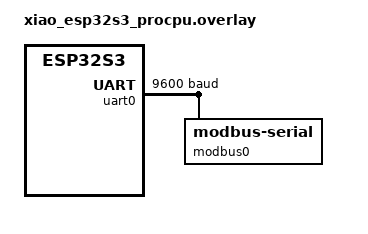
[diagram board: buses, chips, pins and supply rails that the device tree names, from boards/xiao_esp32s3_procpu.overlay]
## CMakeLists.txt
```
# SPDX-License-Identifier: Apache-2.0

cmake_minimum_required(VERSION 3.20.0)

set(SHIELD seeed_b2b_sx1262)

find_package(Zephyr REQUIRED HINTS $ENV{ZEPHYR_BASE})
project(lora_relay)

FILE(GLOB app_sources src/*.c)
target_sources(app PRIVATE ${app_sources})
target_sources(app PRIVATE
        ${ZEPHYR_HAL_ESPRESSIF_MODULE_DIR}/components/hal/hmac_hal.c
        ${ZEPHYR_HAL_ESPRESSIF_MODULE_DIR}/components/hal/aes_hal.c
        ${ZEPHYR_HAL_ESPRESSIF_MODULE_DIR}/components/efuse/src/efuse_controller/keys/with_key_purposes/esp_efuse_api_key.c
        ${ZEPHYR_HAL_ESPRESSIF_MODULE_DIR}/components/efuse/src/esp_efuse_api.c
        ${ZEPHYR_HAL_ESPRESSIF_MODULE_DIR}/components/efuse/src/esp_efuse_utility.c
        ${ZEPHYR_HAL_ESPRESSIF_MODULE_DIR}/components/efuse/${CONFIG_SOC_SERIES}/esp_efuse_utility.c
        ${ZEPHYR_HAL_ESPRESSIF_MODULE_DIR}/components/efuse/${CONFIG_SOC_SERIES}/esp_efuse_table.c
)

# The EUI code pokes lorawan internals
set(ZEPHYR_CURRENT_LIBRARY loramac-node)
FILE(GLOB lm_sources lorawan/*.c)
zephyr_library_sources(${lm_sources})
zephyr_include_directories(${ZEPHYR_BASE}/subsys/lorawan)
```

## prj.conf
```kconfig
# General Zephyr settings
CONFIG_MAIN_STACK_SIZE=4096
CONFIG_SYSTEM_WORKQUEUE_STACK_SIZE=2048
CONFIG_STACK_SENTINEL=y
CONFIG_THREAD_NAME=y
CONFIG_LOG=y
CONFIG_LOG_THREAD_ID_PREFIX=y
CONFIG_LOG_PROCESS_THREAD_STACK_SIZE=4096
CONFIG_LOG_BUFFER_SIZE=8192
CONFIG_LOG_PROCESS_THREAD_SLEEP_MS=200
CONFIG_LOG_SPEED=y

# LoRa PHY
CONFIG_LORA=y
#CONFIG_LORA_LOG_LEVEL_DBG=y

# NVS required to store LoRaWAN DevNonce
CONFIG_NVS=y
#CONFIG_NVS_LOG_LEVEL_DBG=y
CONFIG_SETTINGS=y
CONFIG_SETTINGS_DYNAMIC_HANDLERS=n
#CONFIG_SETTINGS_LOG_LEVEL_DBG=y
# The NVS settings implementation is braindead without this
CONFIG_SETTINGS_NVS_NAME_CACHE=y
# Sector size is 4kB
CONFIG_SETTINGS_NVS_SECTOR_SIZE_MULT=1
CONFIG_SETTINGS_NVS_SECTOR_COUNT=8

# Random number generator required for several LoRaWAN services
CONFIG_ENTROPY_GENERATOR=y

# LoRaWAN application layer
CONFIG_LORAWAN=y
CONFIG_LORAMAC_REGION_US915=y
CONFIG_LORAWAN_NVM_SETTINGS=y
#CONFIG_LORAWAN_LOG_LEVEL_DBG=y

# LoRaWAN services required for FUOTA
CONFIG_LORAWAN_SERVICES=y
CONFIG_LORAWAN_SERVICES_LOG_LEVEL_DBG=y
CONFIG_LORAWAN_APP_CLOCK_SYNC=y
CONFIG_LORAWAN_REMOTE_MULTICAST=y
CONFIG_LORAWAN_FRAG_TRANSPORT=y

# use fixed frag size (min and max 232 bytes) to avoid RAM overflow
CONFIG_LORAWAN_FRAG_TRANSPORT_MIN_FRAG_SIZE=232
# alternatively, the redundancy could be reduced
CONFIG_LORAWAN_FRAG_TRANSPORT_MAX_REDUNDANCY=2

# Flash driver to store firmware image
CONFIG_FLASH=y
CONFIG_FLASH_MAP=y
CONFIG_FLASH_PAGE_LAYOUT=y
CONFIG_STREAM_FLASH=y
CONFIG_IMG_MANAGER=y

# hwinfo for unique ID
CONFIG_HWINFO=y

# ESP32S3 appears to use a real serial port for CDC/ACM
CONFIG_SERIAL=y
# and it needs to be efficient
CONFIG_UART_INTERRUPT_DRIVEN=y
CONFIG_CONSOLE=y
CONFIG_UART_CONSOLE=y

CONFIG_MODBUS=y
CONFIG_MODBUS_ROLE_CLIENT=y
CONFIG_MODBUS_SERIAL=y
#CONFIG_MODBUS_LOG_LEVEL_DBG=y
# Note that this does *not* apply to the USB serial driver
#CONFIG_UART_LOG_LEVEL_DBG=y
# The modbus driver doesn't handle larger RX sizes well
CONFIG_UART_ESP32_RX_FIFO_THRESH=1

# Debugging
CONFIG_DEBUG=y
CONFIG_DEBUG_THREAD_INFO=y
#CONFIG_OPENOCD=y
CONFIG_OUTPUT_SYMBOLS=y
CONFIG_THREAD_ANALYZER=y
```

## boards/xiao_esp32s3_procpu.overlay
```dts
#include <dt-bindings/pinctrl/esp32s3-pinctrl.h>

&uart0 {
	status = "okay";
	current-speed = <9600>;
	pinctrl-0 = <&uart0_default>;
	pinctrl-names = "default";

	modbus0 {
		compatible = "zephyr,modbus-serial";
		status = "okay";
        };
};
```

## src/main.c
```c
/*
 * LoRaWAN FUOTA sample application
 *
 * Copyright (c) 2022-2024 Libre Solar Technologies GmbH
 * Copyright (c) 2022-2024 tado GmbH
 *
 * SPDX-License-Identifier: Apache-2.0
 */

#include <zephyr/device.h>
#include <zephyr/kernel.h>
#include <zephyr/logging/log.h>
#include <zephyr/drivers/lora.h>

LOG_MODULE_REGISTER(main, CONFIG_LORAWAN_SERVICES_LOG_LEVEL);

static const struct device *lora_dev = DEVICE_DT_GET(DT_ALIAS(lora0));
static const struct lora_modem_config lora_cfg = {
	.frequency = 915000000,
	.bandwidth = BW_125_KHZ,
	.datarate = SF_6,
	.coding_rate = CR_4_8,
	.public_network = 0,
	.preamble_len = 100,
	.tx_power = 20,
};

int lora_init(void) {
	if (!device_is_ready(lora_dev)) {
		LOG_ERR("%s: device not ready.", lora_dev->name);
		return -ENODEV;
	}

        return 0;
}

int fuota_run(void);

uint8_t remote_msg[8] = {0};

int main(void)
{
	int ret;

	ret = lora_init();
	if (ret != 0) {
		LOG_ERR("Failed to initialize LoRa");
		goto err;
	}

	ret = lora_config(lora_dev, &lora_cfg);
	if (ret != 0) {
		LOG_ERR("Failed to configure LoRa");
		goto err;
	}

	fuota_run();
	k_msleep(1000);

err:
	return 0;
}
```

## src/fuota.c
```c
/*
 * LoRaWAN FUOTA sample application
 *
 * Copyright (c) 2022-2024 Libre Solar Technologies GmbH
 * Copyright (c) 2022-2024 tado GmbH
 *
 * SPDX-License-Identifier: Apache-2.0
 */

#include <zephyr/device.h>
#include <zephyr/kernel.h>
#include <zephyr/logging/log.h>
#include <zephyr/lorawan/lorawan.h>
#include "../lorawan/eui.h"

LOG_MODULE_REGISTER(lorawan_fuota, CONFIG_LORAWAN_SERVICES_LOG_LEVEL);

#define DELAY K_SECONDS(180)

char data[] = {'a', 'b', 'c'};

static void downlink_info(uint8_t port, uint8_t flags, int16_t rssi, int8_t snr, uint8_t len,
			  const uint8_t *data)
{
	LOG_INF("Received from port %d, flags %d, RSSI %ddB, SNR %ddB", port, flags, rssi, snr);
	if (data) {
		LOG_HEXDUMP_INF(data, len, "Payload: ");
	}
}

static void datarate_changed(enum lorawan_datarate dr)
{
	uint8_t unused, max_size;

	lorawan_get_payload_sizes(&unused, &max_size);
	LOG_INF("New Datarate: DR %d, Max Payload %d", dr, max_size);
}

static void fuota_finished(void)
{
	LOG_INF("FUOTA finished. Reset device to apply firmware upgrade.");

	/*
	 * In an actual application the firmware should be rebooted here if
	 * no important tasks are pending
	 */
}

/* This callback must have a static lifetime */
static struct lorawan_downlink_cb downlink_cb = {
	.port = LW_RECV_PORT_ANY,
	.cb = downlink_info
};

int fuota_run(void) {
	struct lorawan_join_config join_cfg = {0};
	int ret;

	/* Keys restored from NVM */
	ret = lorawan_start();
	if (ret < 0) {
		LOG_ERR("lorawan_start failed: %d", ret);
		return ret;
	}

	ret = lorawan_init_eui();
	if (ret < 0) {
		LOG_ERR("failed to initialize EUI: %d", ret);
		return ret;
	}

	lorawan_register_downlink_callback(&downlink_cb);
	lorawan_register_dr_changed_callback(datarate_changed);

	join_cfg.mode = LORAWAN_ACT_OTAA;
	/*
	 * By not setting EUIs and keys we rely on the restored NVM values
	 * and those generated in lorawan_init_eui()
	 */

	do {
		LOG_INF("Joining network over OTAA");
		ret = lorawan_join(&join_cfg);
		if (ret < 0) {
			LOG_ERR("lorawan_join_network failed: %d", ret);
			//return ret;
			k_msleep(5000);
		}
	} while (ret < 0);

	lorawan_enable_adr(true);

	/*
	 * Clock synchronization is required to schedule the multicast session
	 * in class C mode. It can also be used independent of FUOTA.
	 */
	lorawan_clock_sync_run();

	/*
	 * The multicast session setup service is automatically started in the
	 * background. It is also responsible for switching to class C at a
	 * specified time.
	 */

	/*
	 * The fragmented data transport transfers the actual firmware image.
	 * It could also be used in a class A session, but would take very long
	 * in that case.
	 */
	lorawan_frag_transport_run(fuota_finished);

	return 0;
}
```

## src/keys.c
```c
#include <zephyr/kernel.h>
#include <zephyr/logging/log.h>
#include <zephyr/storage/flash_map.h>

#include <esp_private/periph_ctrl.h>
#include <hal/aes_hal.h>
#include <hal/hmac_hal.h>
#include <hal/hmac_ll.h>
#include <esp_efuse.h>
#include "keys.h"

LOG_MODULE_REGISTER(keys, LOG_LEVEL_INF);

/* Not all of these are secrets but to simplify the provisioning process 
 * just include everything.
 */
struct provision_t {
    uint8_t dev_eui[8];
    uint8_t join_eui[8];
    uint8_t app_key[8];
    uint8_t nwk_key[8];
};

struct crypt_block_t {
	/* Read a full block of data for key derivation */
	uint8_t entropy[SHA256_BLOCK_SZ];
	struct provision_t p;
};

static struct provision_t provisioning = { 0 };

#define STORAGE_ID	FIXED_PARTITION_ID(storage_partition)
#define STORAGE_SIZE	FIXED_PARTITION_SIZE(storage_partition)
#define BLOCK_SIZE	4096

int generate_keys(void) {
	const struct flash_area *storage_area;
	uint8_t key[SHA256_DIGEST_SZ];
	struct crypt_block_t block;

	int err = flash_area_open(STORAGE_ID, &storage_area);
	if (err != 0) {
		LOG_ERR("Failed to open flash area: %d", err);
		return err;
	}

	/* Encrypted block stored at end of flash */
	err = flash_area_read(storage_area, STORAGE_SIZE - BLOCK_SIZE, &block, sizeof(struct crypt_block_t));
	if (err != 0) {
		LOG_ERR("Failed to read flash area: %d", err);
		return err;
	}
	//memset(provisioning.entropy, 0, SHA256_BLOCK_SZ);
	//buffer[0] = 0x80;

	LOG_HEXDUMP_DBG(&block, sizeof(struct crypt_block_t), "Crypt block:");
	//LOG_HEXDUMP_DBG(block.entropy, SHA256_BLOCK_SZ, "Entropy buffer:");

	esp_efuse_block_t key_block;
	if (!esp_efuse_find_purpose(ESP_EFUSE_KEY_PURPOSE_HMAC_UP, &key_block)) {
		LOG_ERR("Could not find HMAC_UP key in eFuse");
		return -ENOENT;
	}

	LOG_INF("Using key index %d for HMAC_UP", key_block);

	// We also enable SHA and DS here. SHA is used by HMAC, DS will otherwise hold SHA in reset state.
	periph_module_enable(PERIPH_HMAC_MODULE);
	periph_module_enable(PERIPH_SHA_MODULE);
	periph_module_enable(PERIPH_DS_MODULE);

	/* Derive encryption key from fixed flash buffer */
	hmac_hal_start();
	/* hmac_hal_configure takes the key ID, not the key block id */
	err = hmac_hal_configure(HMAC_OUTPUT_USER, key_block - EFUSE_BLK_KEY0);
	if (err) {
		LOG_ERR("Error configuring HMAC: %d", err);
		return -EINVAL;
	}
	hmac_hal_write_block_512(block.entropy);
	hmac_ll_wait_idle();
	hmac_ll_msg_end();

	hmac_hal_read_result_256(key);
	hmac_hal_clean();

	periph_module_disable(PERIPH_DS_MODULE);
	periph_module_disable(PERIPH_SHA_MODULE);
	periph_module_disable(PERIPH_HMAC_MODULE);

	LOG_HEXDUMP_DBG(key, SHA256_DIGEST_SZ, "Derived key:");

	/* Enable AES hardware */
	periph_module_enable(PERIPH_AES_MODULE);

	aes_hal_setkey(key, SHA256_DIGEST_SZ, ESP_AES_DECRYPT);
	aes_ll_dma_enable(0);

	uint8_t *src = (uint8_t *)&block.p;
	uint8_t *dst = (uint8_t *)&provisioning;
	for (int i=0; i < sizeof(struct provision_t)/AES_BLOCK_BYTES; i++) {
		aes_hal_transform_block(src, dst);
		LOG_HEXDUMP_DBG(src, AES_BLOCK_BYTES, "block ->");
		LOG_HEXDUMP_DBG(dst, AES_BLOCK_BYTES, "block <-");
		src += AES_BLOCK_BYTES;
		dst += AES_BLOCK_BYTES;
	}

	periph_module_disable(PERIPH_AES_MODULE);

	LOG_HEXDUMP_DBG(provisioning.dev_eui, 8, "Dev EUI:");
	LOG_HEXDUMP_DBG(provisioning.app_key, 8, "App key:");
	LOG_HEXDUMP_DBG(provisioning.nwk_key, 8, "Nwk key:");

	return 0;
}

uint8_t *get_join_eui() {
    return &provisioning.join_eui[0];
}

uint8_t *get_dev_eui() {
    return &provisioning.dev_eui[0];
}

uint8_t *get_app_key() {
    return &provisioning.app_key[0];
}

uint8_t *get_nwk_key() {
    return &provisioning.nwk_key[0];
}
```

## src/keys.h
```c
#ifndef __KEYS_H__
#define __KEYS_H__

#include <stdint.h>

int generate_keys(void);
uint8_t *get_join_eui(void);
uint8_t *get_dev_eui(void);
uint8_t *get_app_key(void);
uint8_t *get_nwk_key(void);

#endif
```

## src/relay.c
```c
#include <zephyr/device.h>
#include <zephyr/kernel.h>
#include <zephyr/drivers/gpio.h>
#include <zephyr/logging/log.h>
#include <zephyr/lorawan/lorawan.h>
#include <services/lorawan_services.h>

LOG_MODULE_REGISTER(relay, CONFIG_LORAWAN_SERVICES_LOG_LEVEL);

#define LORAWAN_PORT_RELAY	0x80

static const struct gpio_dt_spec relay = GPIO_DT_SPEC_GET(DT_ALIAS(relay), gpios);

struct relay_svc_context {
	/** Work item for regular uplink messages */
	struct k_work_delayable relay_work;
	/**
	 * Keepalive retransmission interval in milliseconds
	 */
	uint32_t period;
	/**
	 * The time (possibly in the past) when the relay should next close.
	 */
	int64_t close_timeout;
	/**
	 * The current (software) state of the relay
	 */
	uint8_t relay_state;
};

struct relay_msg_t {
	uint32_t open_duration_ms;
};

K_SEM_DEFINE(ctx_sem, 1, 1);
static struct relay_svc_context ctx;

static void downlink_info(uint8_t port, uint8_t flags, int16_t rssi, int8_t snr, uint8_t len,
			  const uint8_t *data)
{
	LOG_INF("Received from port %d, flags %d, RSSI %ddB, SNR %ddB", port, flags, rssi, snr);
	if (data && len >= sizeof(struct relay_msg_t)) {
		const struct relay_msg_t *msg = (struct relay_msg_t *)data;

		LOG_INF("Relay opened for %d ms", msg->open_duration_ms);

		k_sem_take(&ctx_sem, K_FOREVER);
		if (msg->open_duration_ms == __UINT32_MAX__) {
			/* Leave open until further notice */
			ctx.close_timeout = ~0UL;
		} else {
			ctx.close_timeout = k_uptime_ticks() + k_ms_to_ticks_ceil64(msg->open_duration_ms);
		}
		k_sem_give(&ctx_sem);
	}
}

/* This callback must have a static lifetime */
static const struct lorawan_downlink_cb downlink_cb = {
	.port = LORAWAN_PORT_RELAY,
	.cb = downlink_info
};

static void relay_work_handler(struct k_work *work) {
	uint8_t new_state;

	k_sem_take(&ctx_sem, K_FOREVER);
	/* Relay is active if we have not met the timeout */
	new_state = (k_uptime_ticks() < ctx.close_timeout);
	if (new_state != ctx.relay_state) {
		LOG_INF("Relay state %d", new_state);
		ctx.relay_state = new_state;
		gpio_pin_set_dt(&relay, new_state);
	}

	lorawan_services_schedule_uplink(LORAWAN_PORT_RELAY, &ctx.relay_state, sizeof(ctx.relay_state), 500);
	lorawan_services_reschedule_work(&ctx.relay_work, K_MSEC(ctx.period));
	k_sem_give(&ctx_sem);
}

int lorawan_relay_run(void) {
	ctx.period = 30000;
	ctx.relay_state = 0;

	gpio_pin_configure_dt(&relay, GPIO_OUTPUT_LOW);

	lorawan_register_downlink_callback(&downlink_cb);

	k_work_init_delayable(&ctx.relay_work, relay_work_handler);
	lorawan_services_reschedule_work(&ctx.relay_work, K_NO_WAIT);

        return 0;
}
```

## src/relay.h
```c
#ifndef __RELAY_H__
#define __RELAY_H__

int lorawan_relay_run(void);

#endif /* __RELAY_H__ */
```

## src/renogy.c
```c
#include <zephyr/kernel.h>
#include <zephyr/sys/util.h>
#include <zephyr/modbus/modbus.h>

#include <zephyr/logging/log.h>

#include "renogy.h"

LOG_MODULE_REGISTER(renogy, LOG_LEVEL_INF);

static int client_iface;
static uint8_t client_addr;

const static struct modbus_iface_param client_param = {
	.mode = MODBUS_MODE_RTU,
	.rx_timeout = 100000,
	.serial = {
		.baud = 9600,
		.parity = UART_CFG_PARITY_NONE,
		.stop_bits_client = UART_CFG_STOP_BITS_1,
	},
};

#define MODBUS_NODE DT_COMPAT_GET_ANY_STATUS_OKAY(zephyr_modbus_serial)

static int find_client(void) {
        int ret;
        uint16_t buf;
        uint8_t i=1;

        ret = modbus_read_holding_regs(client_iface, i, REN_SYS_DEV_ADDR, &buf, 1);
        LOG_INF("Addr %02x ret %d", i, ret);

        if (ret == 0) {
                LOG_INF("Device responded at %02x with addr %04x", i, buf);
                return i;
        }

        /* Device not found */
        return -ENOENT;
}

int charger_get_system(struct renogy_sys_t *buf) {
        return modbus_read_holding_regs(client_iface, client_addr, REN_SYS_CHARGE_RATING, (uint16_t *)buf, sizeof(struct renogy_sys_t)/2);
}

int charger_get_cur_stats(struct renogy_dyn_stat_t *buf) {
        return modbus_read_holding_regs(client_iface, client_addr, REN_DYN_STAT_SOC, (uint16_t *)buf, sizeof(struct renogy_dyn_stat_t)/2);
}

int charger_get_daily_stats(struct renogy_dyn_daily_t *buf) {
        return modbus_read_holding_regs(client_iface, client_addr, REN_DYN_DAILY_MIN_V, (uint16_t *)buf, sizeof(struct renogy_dyn_daily_t)/2);
}

int charger_get_hist_stats(struct renogy_dyn_hist_t *buf) {
        return modbus_read_holding_regs(client_iface, client_addr, REN_DYN_HIST_TOTAL_OP_DAYS, (uint16_t *)buf, sizeof(struct renogy_dyn_hist_t)/2);
}

int charger_get_state(struct renogy_dyn_status_t *buf) {
        return modbus_read_holding_regs(client_iface, client_addr, REN_DYN_STATUS, (uint16_t *)buf, sizeof(struct renogy_dyn_status_t)/2);
}

int charger_get_bat_info(struct renogy_param_bat_t *buf) {
        return modbus_read_holding_regs(client_iface, client_addr, REN_PARAM_NOM_CAPACITY, (uint16_t *)buf, sizeof(struct renogy_param_bat_t)/2);
}

int init_charger(void) {
        int ret;
	const char *iface_name = DEVICE_DT_NAME(MODBUS_NODE);

	client_iface = modbus_iface_get_by_name(iface_name);

	ret = modbus_init_client(client_iface, client_param);
        if (ret < 0) {
                LOG_ERR("Could not init modbus client: %d\n", ret);
                return ret;
        }

        k_msleep(100);

        ret = find_client();
        if (ret < 0) {
                LOG_ERR("Could not detect device");
                return ret;
        }
        client_addr = (uint16_t)ret;

        return 0;
}
```

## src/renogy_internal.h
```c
#ifndef __RENOGY_INTERNAL_H__
#define __RENOGY_INTERNAL_H__

#include <stdint.h>

#define REN_SYS_CHARGE_RATING           0x0A
#define REN_SYS_DISCHARGE_RATING        0x0B
#define REN_SYS_MODEL                   0x0C
#define REN_SYS_SW_VER                  0x14
#define REN_SYS_HW_VER                  0x16
#define REN_SYS_SERIAL                  0x18
#define REN_SYS_DEV_ADDR                0x1A

struct renogy_sys_t {
        /* TODO: endianness */
        uint8_t nom_v;
        uint8_t max_charge_i;
        uint8_t max_discharge_i;
        uint8_t prod_type;
        char model[16];
        uint32_t sw_version;
        uint32_t hw_version;
        uint32_t serial;
        uint16_t addr;
};

#define REN_DYN_STAT_SOC                0x100

struct renogy_dyn_stat_t {
        uint16_t soc_pct;
        uint16_t bat_dV;
        uint16_t charge_cA;
        uint8_t controller_c;
        uint8_t bat_c;

        uint16_t load_dV;
        uint16_t load_cA;
        uint16_t load_w;

        uint16_t solar_dV;
        uint16_t solar_cA;
        uint16_t solar_w;
};

#define REN_DYN_DAILY_MIN_V             0x10B

struct renogy_dyn_daily_t {
        uint16_t min_bat_dV;
        uint16_t max_bat_dV;
        uint16_t max_charge_cA;
        uint16_t max_discharge_cA;
        uint16_t max_charge_W;
        uint16_t max_discharge_W;

        /* Total for current day */
        uint16_t charge_Ah;
        uint16_t discharge_Ah;
        uint16_t generation_dWh; /* kWh/10k */
        uint16_t consumption_dWh;
};

#define REN_DYN_HIST_TOTAL_OP_DAYS      0x115

/* Cumulative totals */
struct renogy_dyn_hist_t {
        uint16_t op_days;
        uint16_t over_discharge_cnt;
        uint16_t full_charge_cnt;

        uint32_t charge_Ah;
        uint32_t discharge_Ah;
        uint32_t generation_dWh; /* kWh/10k */
        uint32_t consumption_dWh;
};

#define REN_DYN_STATUS                  0x120

enum renogy_charge_state_t {
        REN_CHARGE_DEACTIVATED = 0,
        REN_CHARGE_ACTIVATED,
        REN_CHARGE_MPPT,
        REN_CHARGE_EQUALIZING,
        REN_CHARGE_BOOST,
        REN_CHARGE_FLOAT,
        REN_CHARGE_OVERPOWER,
};

struct renogy_dyn_status_t {
        uint8_t load_status;
        uint8_t charge_state;
};

#define REN_DYN_FAULT_STATE             0x121

#define REN_PARAM_NOM_CAPACITY          0xE002

struct renogy_param_bat_t {
        uint16_t nom_capacity_Ah;
        uint8_t nom_bat_V;
        uint8_t act_bat_V;
        uint16_t bat_type;

        uint16_t overvolt_dV;
        uint16_t charge_lim_dV;
        uint16_t equalizing_dV;
        uint16_t boost_dV;
        uint16_t float_dV;
        uint16_t boost_recov_dV;
        uint16_t over_disch_recov_dV;
        uint16_t undervolt_warn_dV;
        uint16_t over_disch_dV;
        uint16_t disch_lim_dV;

        uint8_t end_charge_soc;
        uint8_t end_discharge_soc;

        uint16_t over_disch_delay_s;
        uint16_t eq_charge_s;
        uint16_t boost_charge_s;
        uint16_t eq_charge_interval_d;
        uint16_t temp_comp; /* mV/dev C/2V */
};

#endif /* __RENOGY_INTERNAL_H__ */
```
